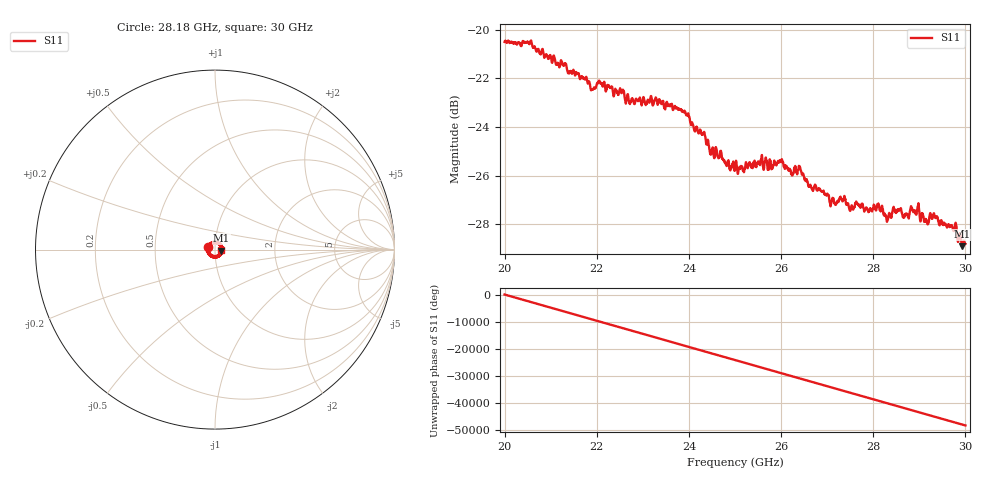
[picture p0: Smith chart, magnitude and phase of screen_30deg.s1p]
#  HZ  S  RI  R  50.00
! Rohde & Schwarz ZVA40 4Ports - Version 3.90 - 1145.1110k42 SN: 100403
! Date: 2023-09-30 07:07:48
! Measurement: S12
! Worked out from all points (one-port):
!   5001 points, 20 GHz to 30 GHz, reference 50 ohm
!   lowest |S11| = -28.9 dB at 29.92 GHz (marker M1), VSWR 1.07, Z = 53.7 - j0.548 ohm
!   |S11| at or under -10 dB: start of sweep to end of sweep
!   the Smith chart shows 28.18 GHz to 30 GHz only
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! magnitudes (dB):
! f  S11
! 20 GHz  -20.5
! 20.54 GHz  -20.6
! 21.25 GHz  -21.4
! 21.91 GHz  -22.5
! 22.06 GHz  -22.1
! 22.5 GHz  -22.5
! 22.75 GHz  -22.9
! 23.75 GHz  -23.2
! 24.3 GHz  -24.3
! 24.51 GHz  -24.9
! 25 GHz  -25.8
! 25.98 GHz  -25.4
! 26.25 GHz  -26.0
! 26.41 GHz  -25.6
! 26.65 GHz  -26.5
! 27.19 GHz  -27.2
! 27.35 GHz  -27.0
! 27.5 GHz  -27.5
! 28.14 GHz  -27.4
! 28.28 GHz  -27.7
! 28.56 GHz  -27.4
! 28.75 GHz  -27.7
! 28.95 GHz  -27.5
! 29.16 GHz  -27.8
! 29.35 GHz  -27.7
! 29.76 GHz  -28.3
! 29.92 GHz  -28.9
! 30 GHz  -28.8
